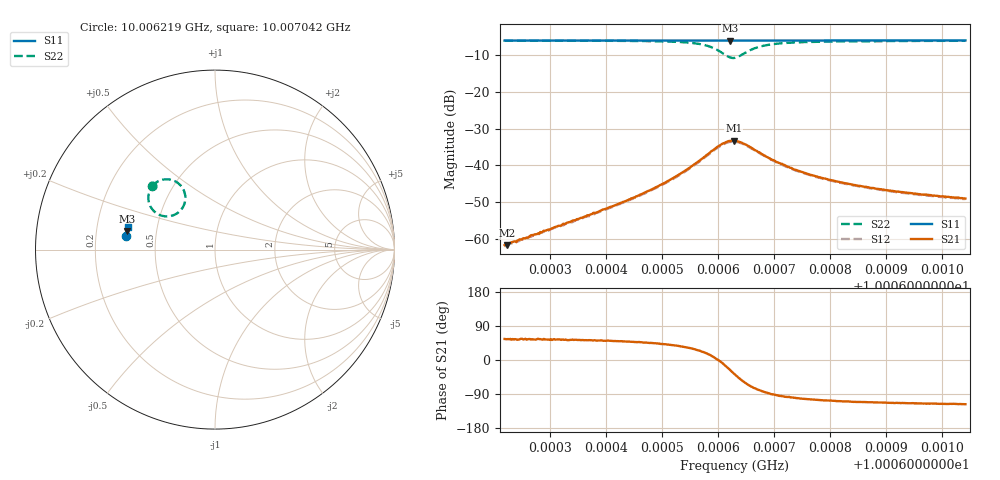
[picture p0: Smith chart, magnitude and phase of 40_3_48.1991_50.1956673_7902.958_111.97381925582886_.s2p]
#  HZ  S  RI  R  50.00
! Rohde & Schwarz Vector Network Analyzer
! Rohde-Schwarz,ZNB20-2Port,1311601062101988,3.16
! Created: UTC 3/20/2024, 11:37:50 AM
! freq[Hz]  re:S11  im:S11  re:S21  im:S21  re:S12  im:S12  re:S22  im:S22
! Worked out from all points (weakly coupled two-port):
!   401 points, 10.006219 GHz to 10.007042 GHz, reference 50 ohm
!   highest |S21| = -33.27 dB at 10.006629 GHz (marker M1); lowest = -61.8 dB at 10.006223 GHz (marker M2)
!   lowest |S11| = -6.0 dB at 10.006622 GHz (marker M3), VSWR 3.00, Z = 16.8 + j4.56 ohm
!   |S11| at or under -10 dB: nowhere
!   |S22| runs from -10.7 to -6.0 dB; largest |S21 - S12| = 0.0016
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1.00062189e10  -0.4961 0.0764  0.000465 0.000675  0.000407 0.000678  -0.3533 0.3531
1.0006223e10  -0.496 0.0767  0.000469 0.000666  0.000445 0.000693  -0.3531 0.3535
1.00063568e10  -0.4948 0.0855  0.00117 0.00153  0.0011 0.00156  -0.3386 0.3665
1.00064351e10  -0.4941 0.0907  0.00215 0.00246  0.002 0.00247  -0.3239 0.3766
1.00064948e10  -0.4933 0.0945  0.00383 0.00361  0.00357 0.00371  -0.3024 0.3863
1.00065359e10  -0.4927 0.0974  0.00646 0.00461  0.00606 0.00479  -0.2737 0.3917
1.00065771e10  -0.4916 0.1003  0.0125 0.00435  0.012 0.00475  -0.2154 0.3771
1.00065915e10  -0.491 0.101  0.0159 0.00243  0.0153 0.00311  -0.1871 0.3522
1.00066039e10  -0.4905 0.1015  0.0188 -0.00111  0.0182 -0.000164  -0.1681 0.3132
1.00066121e10  -0.4903 0.1016  0.0197 -0.0046  0.0193 -0.00345  -0.1653 0.2781
1.00066224e10  -0.49 0.1017  0.0192 -0.00976  0.0191 -0.0084  -0.1816 0.2319
1.00066286e10  -0.4902 0.1019  0.0176 -0.0127  0.0178 -0.0112  -0.2021 0.209
1.00066306e10  -0.4901 0.1019  0.017 -0.0134  0.0172 -0.0122  -0.2101 0.2028
1.00066492e10  -0.4907 0.1026  0.00951 -0.0167  0.0101 -0.0158  -0.2875 0.1867
1.00066636e10  -0.4911 0.1034  0.00475 -0.016  0.00563 -0.0153  -0.3296 0.2052
1.0006678e10  -0.4911 0.1045  0.00209 -0.0142  0.00272 -0.0138  -0.3526 0.2287
1.00067191e10  -0.4911 0.1075  -0.00123 -0.01  -0.00067 -0.00979  -0.371 0.279
1.00067377e10  -0.4907 0.1087  -0.00146 -0.00859  -0.00102 -0.00852  -0.3713 0.2932
1.00067686e10  -0.4905 0.1108  -0.00179 -0.00712  -0.00146 -0.00707  -0.3691 0.3097
1.00068221e10  -0.4898 0.1144  -0.00191 -0.0055  -0.00158 -0.00549  -0.3637 0.3277
1.00069065e10  -0.4888 0.1198  -0.00177 -0.00419  -0.00151 -0.00419  -0.3556 0.3439
1.00070423e10  -0.487 0.1285  -0.00158 -0.00316  -0.00139 -0.00317  -0.3452 0.3591
